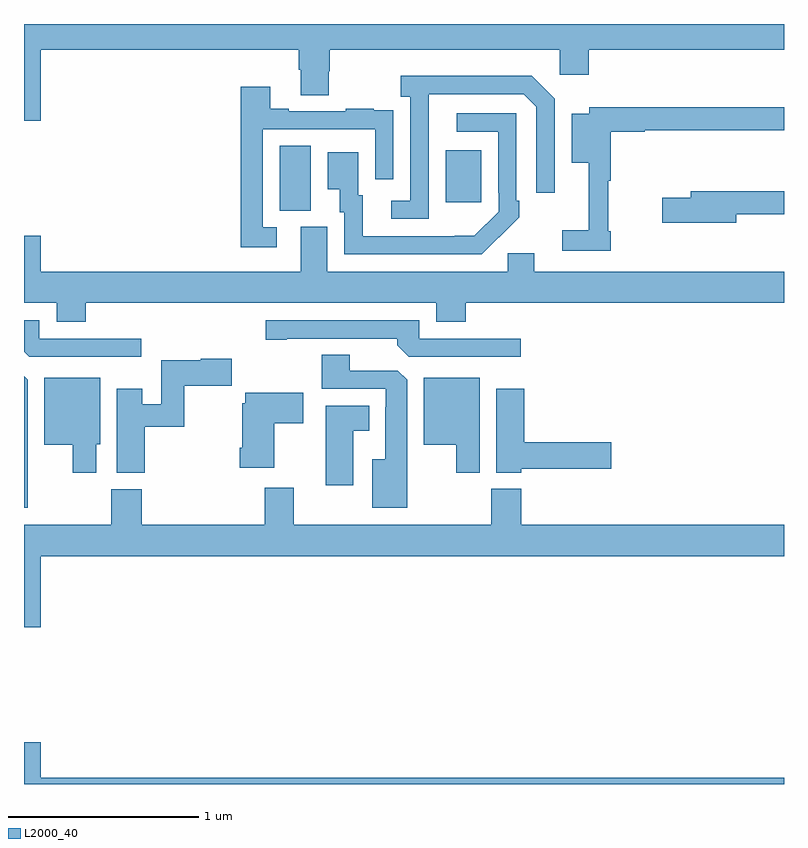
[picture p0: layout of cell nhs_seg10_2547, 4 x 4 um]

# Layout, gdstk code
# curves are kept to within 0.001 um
import gdstk
lib = gdstk.Library(unit=1e-6, precision=1e-09)
def R(c, l, rs):  # rectangles x0, y0, x1, y1
    for r in rs: c.add(gdstk.rectangle(r[:2], r[2:], *l))
def P(c, l, *ps):  # polygons
    for p in ps: c.add(gdstk.Polygon(p, *l))
L2000_40 = (2000, 40)

nhs_seg10_2547 = lib.new_cell('nhs_seg10_2547')
R(nhs_seg10_2547, L2000_40, [(250.346,1251.517,250.51,1251.86), (251.219,1251.561,251.407,1251.835)])
P(nhs_seg10_2547, L2000_40, [(249.088,1252.364),(250.445,1252.364),(250.445,1252.258),(250.457,1252.258),(250.457,1252.126),(250.605,1252.126),(250.605,1252.251),(250.61,1252.251),(250.61,1252.364),(251.82,1252.364),(251.82,1252.233),(251.972,1252.233),(251.972,1252.364),(253,1252.364),(253,1252.5),(249,1252.5),(249,1251.99),(249.088,1251.99)],
  [(251.13,1251.931),(251.131,1252.131),(251.631,1252.131),(251.697,1252.065),(251.697,1251.612),(251.793,1251.612),(251.793,1252.107),(251.672,1252.228),(250.983,1252.228),(250.983,1252.118),(251.034,1252.118),(251.034,1251.57),(250.932,1251.57),(250.932,1251.474),(251.13,1251.474)],
  [(250.33,1251.429),(250.257,1251.429),(250.257,1251.945),(250.848,1251.945),(250.848,1251.684),(250.944,1251.684),(250.944,1251.938),(250.943,1251.938),(250.943,1252.047),(250.841,1252.047),(250.841,1252.054),(250.693,1252.054),(250.693,1252.041),(250.393,1252.041),(250.393,1252.054),(250.297,1252.054),(250.297,1252.171),(250.141,1252.171),(250.141,1251.324),(250.33,1251.324)],
  [(252.089,1251.409),(252.074,1251.409),(252.074,1251.674),(252.089,1251.674),(252.089,1251.934),(252.266,1251.934),(252.266,1251.942),(253,1251.942),(253,1252.063),(251.976,1252.063),(251.976,1252.027),(251.882,1252.027),(251.882,1251.77),(251.972,1251.77),(251.972,1251.415),(251.832,1251.415),(251.832,1251.306),(252.089,1251.306)],
  [(251.501,1251.379),(251.502,1251.378),(251.607,1251.483),(251.607,1251.571),(251.592,1251.571),(251.592,1252.029),(251.277,1252.029),(251.277,1251.933),(251.496,1251.933),(251.496,1251.613),(251.499,1251.613),(251.499,1251.513),(251.371,1251.385),(250.783,1251.384),(250.783,1251.6),(250.759,1251.6),(250.759,1251.826),(250.598,1251.826),(250.598,1251.629),(250.661,1251.629),(250.661,1251.51),(250.686,1251.51),(250.686,1251.288),(251.41,1251.288)],
  [(252.748,1251.498),(253,1251.498),(253,1251.619),(252.509,1251.619),(252.509,1251.585),(252.36,1251.585),(252.36,1251.455),(252.748,1251.455)],
  [(251.171,1250.933),(251.324,1250.933),(251.324,1251.032),(253,1251.032),(253,1251.196),(251.686,1251.196),(251.686,1251.294),(251.547,1251.294),(251.547,1251.196),(250.597,1251.196),(250.597,1251.432),(250.457,1251.432),(250.457,1251.196),(249.088,1251.196),(249.088,1251.385),(249,1251.385),(249,1251.032),(249.173,1251.032),(249.173,1250.933),(249.326,1250.933),(249.326,1251.032),(251.171,1251.032)],
  [(251.614,1250.844),(251.079,1250.844),(251.079,1250.94),(250.272,1250.94),(250.272,1250.839),(250.384,1250.839),(250.384,1250.844),(250.964,1250.844),(250.964,1250.81),(251.025,1250.748),(251.614,1250.748)],
  [(249.616,1250.844),(249.081,1250.844),(249.081,1250.94),(249,1250.94),(249,1250.775),(249.027,1250.748),(249.616,1250.748)],
  [(251.017,1250.627),(250.968,1250.676),(250.714,1250.676),(250.714,1250.759),(250.567,1250.759),(250.567,1250.58),(250.905,1250.58),(250.905,1250.483),(250.901,1250.483),(250.901,1250.209),(250.832,1250.209),(250.832,1249.955),(251.017,1249.955)],
  [(249.635,1250.38),(249.844,1250.38),(249.844,1250.596),(250.093,1250.596),(250.093,1250.739),(249.93,1250.739),(249.93,1250.731),(249.723,1250.731),(249.723,1250.499),(249.622,1250.499),(249.622,1250.581),(249.488,1250.581),(249.488,1250.137),(249.635,1250.137)],
  [(249.019,1250.627),(249,1250.646),(249,1249.955),(249.019,1249.955)],
  [(249.379,1250.289),(249.4,1250.289),(249.4,1250.638),(249.107,1250.638),(249.107,1250.285),(249.257,1250.285),(249.257,1250.139),(249.379,1250.139)],
  [(251.398,1250.638),(251.105,1250.638),(251.105,1250.285),(251.276,1250.285),(251.276,1250.139),(251.398,1250.139)],
  [(251.616,1250.158),(252.091,1250.158),(252.091,1250.3),(251.633,1250.3),(251.633,1250.581),(251.486,1250.581),(251.486,1250.138),(251.616,1250.138)],
  [(250.318,1250.398),(250.471,1250.398),(250.471,1250.56),(250.314,1250.56),(250.314,1250.558),(250.164,1250.558),(250.164,1250.505),(250.148,1250.505),(250.148,1250.269),(250.136,1250.269),(250.136,1250.165),(250.318,1250.165)],
  [(250.732,1250.36),(250.816,1250.36),(250.816,1250.491),(250.589,1250.491),(250.589,1250.073),(250.732,1250.073)],
  [(249.088,1249.7),(253,1249.7),(253,1249.864),(251.618,1249.864),(251.618,1250.053),(251.458,1250.053),(251.458,1249.864),(250.42,1249.864),(250.42,1250.059),(250.268,1250.059),(250.268,1249.864),(249.62,1249.864),(249.62,1250.052),(249.46,1250.052),(249.46,1249.864),(249,1249.864),(249,1249.326),(249.088,1249.326)],
  [(253,1248.532),(249.088,1248.532),(249.088,1248.721),(249,1248.721),(249,1248.5),(253,1248.5)])

lib.write_gds('nhs_seg10_2547.gds')
